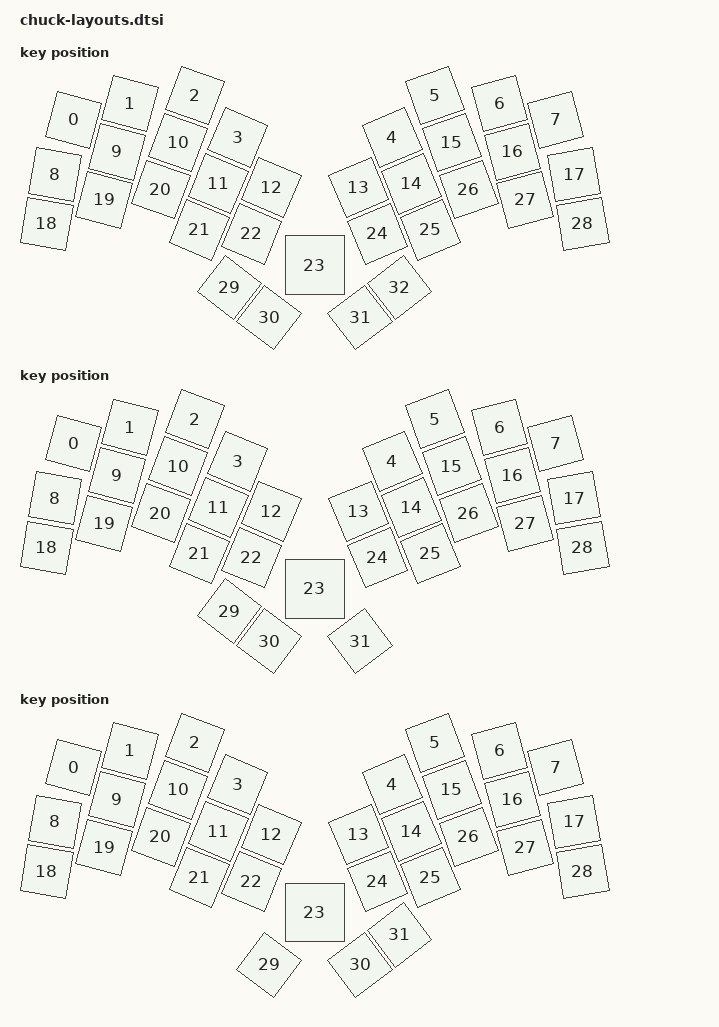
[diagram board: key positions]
#include <physical_layouts.dtsi>

/ {
    charlieflex_layout22: charlieflex_layout_22 {
        compatible = "zmk,physical-layout";
        display-name = "Charlieflex";

        transform = <&charlieflex_transform_22>;

        keys  //                     w   h    x    y     rot    rx    ry
            = <&key_physical_attrs 100 100   54   49    1500   104    99>
            , <&key_physical_attrs 100 100  167   16    1500   217    66>
            , <&key_physical_attrs 100 100  297    0    2000   347    50>
            , <&key_physical_attrs 100 100  382   84    2250   432   134>
            , <&key_physical_attrs 100 100  691   84 (-2250)   741   134>
            , <&key_physical_attrs 100 100  776    0 (-2000)   826    50>
            , <&key_physical_attrs 100 100  906   16 (-1500)   956    66>
            , <&key_physical_attrs 100 100 1018   49 (-1500)  1068    99>
            , <&key_physical_attrs 100 100   17  158    1000    67   208>
            , <&key_physical_attrs 100 100  141  113    1500   191   163>
            , <&key_physical_attrs 100 100  263   94    2000   313   144>
            , <&key_physical_attrs 100 100  343  177    2250   394   227>
            , <&key_physical_attrs 100 100  449  184    2250   499   234>
            , <&key_physical_attrs 100 100  624  184 (-2250)   674   234>
            , <&key_physical_attrs 100 100  729  177 (-2250)   779   227>
            , <&key_physical_attrs 100 100  810   94 (-2000)   860   144>
            , <&key_physical_attrs 100 100  932  113 (-1500)   982   163>
            , <&key_physical_attrs 100 100 1055  158 (-1000)  1105   208>
            , <&key_physical_attrs 100 100    0  257    1000    50   307>
            , <&key_physical_attrs 100 100  115  209    1500   165   259>
            , <&key_physical_attrs 100 100  228  188    2000   278   238>
            , <&key_physical_attrs 100 100  305  269    2250   355   319>
            , <&key_physical_attrs 100 100  410  277    2250   460   327>
            , <&key_physical_attrs 125 125  524  327       0     0     0>
            , <&key_physical_attrs 100 100  662  277 (-2250)   712   327>
            , <&key_physical_attrs 100 100  767  269 (-2250)   817   319>
            , <&key_physical_attrs 100 100  844  188 (-2000)   894   238>
            , <&key_physical_attrs 100 100  957  209 (-1500)  1007   259>
            , <&key_physical_attrs 100 100 1072  257 (-1000)  1122   307>
            , <&key_physical_attrs 100 100  366  384    3750   416   434>
            , <&key_physical_attrs 100 100  445  444    3750   495   494>
            , <&key_physical_attrs 100 100  627  444 (-3750)   677   494>
            , <&key_physical_attrs 100 100  706  384 (-3750)   756   434>
            ;
    };

    charlieflex_layout21: charlieflex_layout_21 {
        compatible = "zmk,physical-layout";
        display-name = "21 Chuck Street";

        transform = <&charlieflex_transform_21>;

        keys  //                     w   h    x    y     rot    rx    ry
            = <&key_physical_attrs 100 100   54   49    1500   104    99>
            , <&key_physical_attrs 100 100  167   16    1500   217    66>
            , <&key_physical_attrs 100 100  297    0    2000   347    50>
            , <&key_physical_attrs 100 100  382   84    2250   432   134>
            , <&key_physical_attrs 100 100  691   84 (-2250)   741   134>
            , <&key_physical_attrs 100 100  776    0 (-2000)   826    50>
            , <&key_physical_attrs 100 100  906   16 (-1500)   956    66>
            , <&key_physical_attrs 100 100 1018   49 (-1500)  1068    99>
            , <&key_physical_attrs 100 100   17  158    1000    67   208>
            , <&key_physical_attrs 100 100  141  113    1500   191   163>
            , <&key_physical_attrs 100 100  263   94    2000   313   144>
            , <&key_physical_attrs 100 100  343  177    2250   394   227>
            , <&key_physical_attrs 100 100  449  184    2250   499   234>
            , <&key_physical_attrs 100 100  624  184 (-2250)   674   234>
            , <&key_physical_attrs 100 100  729  177 (-2250)   779   227>
            , <&key_physical_attrs 100 100  810   94 (-2000)   860   144>
            , <&key_physical_attrs 100 100  932  113 (-1500)   982   163>
            , <&key_physical_attrs 100 100 1055  158 (-1000)  1105   208>
            , <&key_physical_attrs 100 100    0  257    1000    50   307>
            , <&key_physical_attrs 100 100  115  209    1500   165   259>
            , <&key_physical_attrs 100 100  228  188    2000   278   238>
            , <&key_physical_attrs 100 100  305  269    2250   355   319>
            , <&key_physical_attrs 100 100  410  277    2250   460   327>
            , <&key_physical_attrs 125 125  524  327       0     0     0>
            , <&key_physical_attrs 100 100  662  277 (-2250)   712   327>
            , <&key_physical_attrs 100 100  767  269 (-2250)   817   319>
            , <&key_physical_attrs 100 100  844  188 (-2000)   894   238>
            , <&key_physical_attrs 100 100  957  209 (-1500)  1007   259>
            , <&key_physical_attrs 100 100 1072  257 (-1000)  1122   307>
            , <&key_physical_attrs 100 100  366  384    3750   416   434>
            , <&key_physical_attrs 100 100  445  444    3750   495   494>
            , <&key_physical_attrs 100 100  627  444 (-3750)   677   494>
            ;
    };

    charlieflex_layout12: charlieflex_layout_12 {
        compatible = "zmk,physical-layout";
        display-name = "Chucker by the Dozen";

        transform = <&charlieflex_transform_12>;

        keys  //                     w   h    x    y     rot    rx    ry
            = <&key_physical_attrs 100 100   54   49    1500   104    99>
            , <&key_physical_attrs 100 100  167   16    1500   217    66>
            , <&key_physical_attrs 100 100  297    0    2000   347    50>
            , <&key_physical_attrs 100 100  382   84    2250   432   134>
            , <&key_physical_attrs 100 100  691   84 (-2250)   741   134>
            , <&key_physical_attrs 100 100  776    0 (-2000)   826    50>
            , <&key_physical_attrs 100 100  906   16 (-1500)   956    66>
            , <&key_physical_attrs 100 100 1018   49 (-1500)  1068    99>
            , <&key_physical_attrs 100 100   17  158    1000    67   208>
            , <&key_physical_attrs 100 100  141  113    1500   191   163>
            , <&key_physical_attrs 100 100  263   94    2000   313   144>
            , <&key_physical_attrs 100 100  343  177    2250   394   227>
            , <&key_physical_attrs 100 100  449  184    2250   499   234>
            , <&key_physical_attrs 100 100  624  184 (-2250)   674   234>
            , <&key_physical_attrs 100 100  729  177 (-2250)   779   227>
            , <&key_physical_attrs 100 100  810   94 (-2000)   860   144>
            , <&key_physical_attrs 100 100  932  113 (-1500)   982   163>
            , <&key_physical_attrs 100 100 1055  158 (-1000)  1105   208>
            , <&key_physical_attrs 100 100    0  257    1000    50   307>
            , <&key_physical_attrs 100 100  115  209    1500   165   259>
            , <&key_physical_attrs 100 100  228  188    2000   278   238>
            , <&key_physical_attrs 100 100  305  269    2250   355   319>
            , <&key_physical_attrs 100 100  410  277    2250   460   327>
            , <&key_physical_attrs 125 125  524  327       0     0     0>
            , <&key_physical_attrs 100 100  662  277 (-2250)   712   327>
            , <&key_physical_attrs 100 100  767  269 (-2250)   817   319>
            , <&key_physical_attrs 100 100  844  188 (-2000)   894   238>
            , <&key_physical_attrs 100 100  957  209 (-1500)  1007   259>
            , <&key_physical_attrs 100 100 1072  257 (-1000)  1122   307>
            , <&key_physical_attrs 100 100  445  444    3750   495   494>
            , <&key_physical_attrs 100 100  627  444 (-3750)   677   494>
            , <&key_physical_attrs 100 100  706  384 (-3750)   756   434>
            ;
    };

    charlieflex_layout11: charlieflex_layout_11 {
        compatible = "zmk,physical-layout";
        display-name = "One Up Chuck";

        transform = <&charlieflex_transform_11>;

        keys  //                     w   h    x    y     rot    rx    ry
            = <&key_physical_attrs 100 100   54   49    1500   104    99>
            , <&key_physical_attrs 100 100  167   16    1500   217    66>
            , <&key_physical_attrs 100 100  297    0    2000   347    50>
            , <&key_physical_attrs 100 100  382   84    2250   432   134>
            , <&key_physical_attrs 100 100  691   84 (-2250)   741   134>
            , <&key_physical_attrs 100 100  776    0 (-2000)   826    50>
            , <&key_physical_attrs 100 100  906   16 (-1500)   956    66>
            , <&key_physical_attrs 100 100 1018   49 (-1500)  1068    99>
            , <&key_physical_attrs 100 100   17  158    1000    67   208>
            , <&key_physical_attrs 100 100  141  113    1500   191   163>
            , <&key_physical_attrs 100 100  263   94    2000   313   144>
            , <&key_physical_attrs 100 100  343  177    2250   394   227>
            , <&key_physical_attrs 100 100  449  184    2250   499   234>
            , <&key_physical_attrs 100 100  624  184 (-2250)   674   234>
            , <&key_physical_attrs 100 100  729  177 (-2250)   779   227>
            , <&key_physical_attrs 100 100  810   94 (-2000)   860   144>
            , <&key_physical_attrs 100 100  932  113 (-1500)   982   163>
            , <&key_physical_attrs 100 100 1055  158 (-1000)  1105   208>
            , <&key_physical_attrs 100 100    0  257    1000    50   307>
            , <&key_physical_attrs 100 100  115  209    1500   165   259>
            , <&key_physical_attrs 100 100  228  188    2000   278   238>
            , <&key_physical_attrs 100 100  305  269    2250   355   319>
            , <&key_physical_attrs 100 100  410  277    2250   460   327>
            , <&key_physical_attrs 125 125  524  327       0     0     0>
            , <&key_physical_attrs 100 100  662  277 (-2250)   712   327>
            , <&key_physical_attrs 100 100  767  269 (-2250)   817   319>
            , <&key_physical_attrs 100 100  844  188 (-2000)   894   238>
            , <&key_physical_attrs 100 100  957  209 (-1500)  1007   259>
            , <&key_physical_attrs 100 100 1072  257 (-1000)  1122   307>
            , <&key_physical_attrs 100 100  445  444    3750   495   494>
            , <&key_physical_attrs 100 100  627  444 (-3750)   677   494>
            ;
    };

    charlieflex_position_map {
        compatible = "zmk,physical-layout-position-map";
        complete;
        layout22: layout22 {
            physical-layout = <&charlieflex_layout22>;
            positions = < 0  1  2  3        4  5  6  7>
                      , < 8  9 10 11 12    13 14 15 16 17>
                      , <18 19 20 21 22 23 24 25 26 27 28>
                      ,          <29 30    31 32>;
        };
        layout21: layout21 {
            physical-layout = <&charlieflex_layout21>;
            positions = < 0  1  2  3        4  5  6  7>
                      , < 8  9 10 11 12    13 14 15 16 17>
                      , <18 19 20 21 22 23 24 25 26 27 28>
                      ,          <29 30    31 32>;
        };
        layout12: layout12 {
            physical-layout = <&charlieflex_layout12>;
            positions = < 0  1  2  3        4  5  6  7>
                      , < 8  9 10 11 12    13 14 15 16 17>
                      , <18 19 20 21 22 23 24 25 26 27 28>
                      ,          <32 29    30 31>;
        };
        layout11: layout11 {
            physical-layout = <&charlieflex_layout11>;
            positions = < 0  1  2  3        4  5  6  7>
                      , < 8  9 10 11 12    13 14 15 16 17>
                      , <18 19 20 21 22 23 24 25 26 27 28>
                      ,          <32 29    30 31>;
        };
    };
};

// vim: expandtab softtabstop=4 shiftwidth=4
